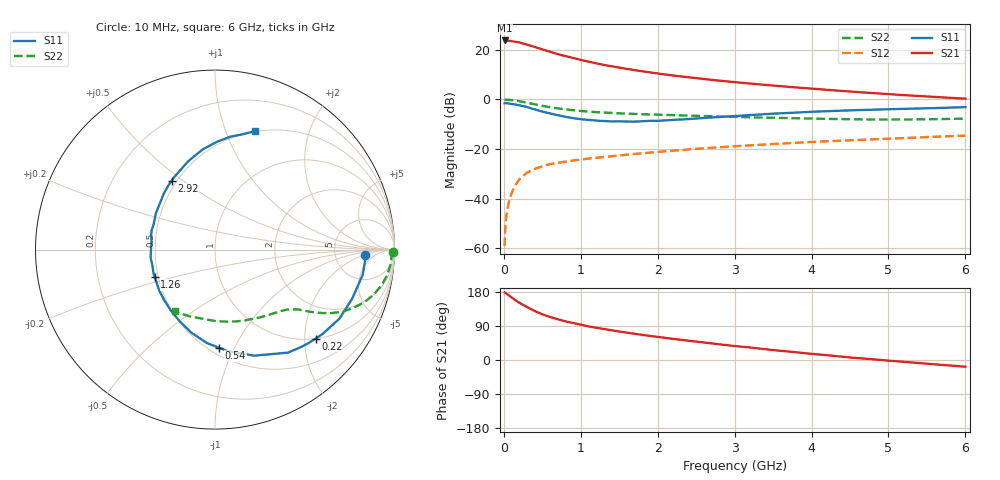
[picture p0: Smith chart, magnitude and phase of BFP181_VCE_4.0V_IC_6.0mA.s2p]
! Infineon Technologies  Discrete & RF Semiconductors
! BFP181
! VCE = 4.0 V,  IC =  6.0 mA
! Common Emitter S-Parameters:  Jan 2016
# GHz  S  MA  R  50
!  f  S11  S21  S12  S22
! GHz  MAG  ANG  MAG  ANG  MAG  ANG  MAG  ANG
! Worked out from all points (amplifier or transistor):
!   210 points, 10 MHz to 6 GHz, reference 50 ohm
!   highest |S21| = 23.7 dB at 10 MHz (marker M1)
!   |S21| within 3 dB of that: start of sweep to 441.3 MHz
!   unconditionally stable (mu >= 1): 1.579 GHz to end of sweep
!   at 185 MHz: K = 0.19, MSG = 28.0 dB, |S12| = -33.0 dB
!   at 1.52 GHz: K = 0.98, MSG = 17.6 dB, |S12| = -22.5 dB
!   at 6 GHz: K = 1.03, MAG = 6.4 dB, |S12| = -14.6 dB
!   S11 on the Smith chart (normalised r, x): 10 MHz: 11, -2; 220 MHz: 1.00, -2.26; 540 MHz: 0.56, -0.87; 1.26 GHz: 0.48, -0.17; 2.92 GHz: 0.47, +0.45; 6 GHz: 0.49, +1.27
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0.01  0.8335 -2.0  15.39 178.3  0.0011 83.9  0.9891 -0.7
0.02  0.8384 -4.1  15.27 177.3  0.0028 92.1  0.9835 -1.6
0.035  0.8357 -6.9  15.28 174.8  0.0047 90.7  0.9836 -2.9
0.05  0.835 -9.7  15.31 172.4  0.0066 90.1  0.9842 -4.2
0.1  0.8116 -19.7  14.9 165.3  0.0127 78.5  0.9708 -8.3
0.155  0.789 -29.9  14.44 157.3  0.0192 73.5  0.946 -12.4
0.22  0.7479 -41.5  13.77 148.9  0.0259 68.6  0.9078 -16.9
0.3  0.7033 -54.7  12.73 139.9  0.0331 62.8  0.859 -21.2
0.4  0.6304 -69.7  11.46 129.1  0.0396 57.3  0.797 -25.6
0.5  0.5685 -83.2  10.17 120.5  0.0448 52.8  0.7407 -28.5
0.54  0.5477 -87.6  9.748 117.9  0.0467 51.5  0.7221 -29.3
0.7  0.4816 -105.8  8.161 107.4  0.0524 47.4  0.6579 -32.2
0.88  0.4233 -123.9  6.936 98.2  0.0582 45.0  0.609 -34.1
1.02  0.3957 -136.8  6.127 91.9  0.0616 43.8  0.5793 -35.4
1.26  0.3691 -155.6  5.097 83.1  0.0678 42.4  0.5463 -37.5
1.52  0.3605 -174.0  4.313 74.4  0.0749 42.2  0.522 -39.8
2.02  0.3708 156.8  3.287 60.4  0.0879 40.4  0.4904 -45.4
2.92  0.4532 122.3  2.287 38.7  0.1112 36.3  0.4475 -58.2
3.1  0.4707 117.0  2.154 35.0  0.1159 35.3  0.4394 -61.2
4.1  0.5693 95.3  1.6 14.5  0.1408 29.0  0.4073 -80.4
5.1  0.6395 81.1  1.246 -3.2  0.1633 22.7  0.392 -102.3
6  0.6965 71.4  1.033 -17.8  0.1858 16.6  0.4098 -122.7
